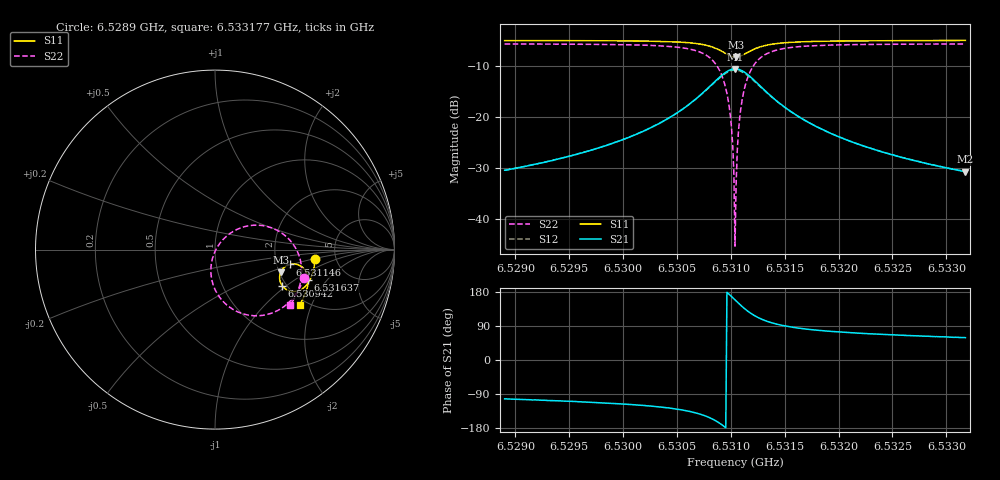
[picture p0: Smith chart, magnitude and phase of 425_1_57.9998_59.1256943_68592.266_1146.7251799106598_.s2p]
#  HZ  S  RI  R  50.00
! Rohde & Schwarz Vector Network Analyzer
! Rohde-Schwarz,ZNB20-2Port,1311601062101988,3.16
! Created: UTC 3/21/2024, 1:09:18 AM
! freq[Hz]  re:S11  im:S11  re:S21  im:S21  re:S12  im:S12  re:S22  im:S22
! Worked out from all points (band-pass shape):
!   401 points, 6.5289 GHz to 6.533177 GHz, reference 50 ohm
!   highest |S21| = -10.55 dB at 6.531039 GHz (marker M1); lowest = -30.7 dB at 6.533177 GHz (marker M2)
!   |S21| within 3 dB of the highest: 6.530826 GHz to 6.531254 GHz (428.2 kHz wide, 0.00656 % of centre)
!   lowest |S11| = -8.2 dB at 6.531049 GHz (marker M3), VSWR 2.26, Z = 102 - j30.3 ohm
!   |S11| at or under -10 dB: nowhere
!   |S22| runs from -45.2 to -5.7 dB; largest |S21 - S12| = 0.011
!   S11 on the Smith chart (normalised r, x): 6.5289 GHz: 3.46, -0.54; 6.530942 GHz: 1.90, -0.93; 6.531146 GHz: 2.36, -0.47; 6.531637 GHz: 2.71, -1.29; 6.533177 GHz: 1.82, -1.65
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6.5289002e9  0.5586 -0.0538  -0.0066 -0.0296  -0.0072 -0.0294  0.4963 -0.1566
6.5296166e9  0.5487 -0.1127  -0.0157 -0.0418  -0.0165 -0.0417  0.4667 -0.2224
6.530333e9  0.5209 -0.1827  -0.0479 -0.0719  -0.0499 -0.0708  0.3881 -0.3144
6.5307606e9  0.4522 -0.2322  -0.1522 -0.0978  -0.1545 -0.0918  0.1876 -0.3652
6.5308676e9  0.4089 -0.2276  -0.2196 -0.0727  -0.219 -0.0638  0.0722 -0.3139
6.5309424e9  0.3749 -0.2016  -0.2696 -0.0165  -0.2645 -0.00722  -0.00451 -0.2112
6.5309959e9  0.3608 -0.167  -0.2868 0.049  -0.278 0.0559  -0.0226 -0.0999
6.5310066e9  0.3599 -0.1591  -0.2865 0.0636  -0.2771 0.0697  -0.0199 -0.0755
6.5310172e9  0.3601 -0.1509  -0.2847 0.0784  -0.2751 0.0836  -0.0148 -0.0516
6.5310279e9  0.3611 -0.1428  -0.2816 0.0931  -0.2715 0.0975  -0.00717 -0.0278
6.5310386e9  0.3631 -0.1347  -0.2768 0.1074  -0.2668 0.111  0.0028 -0.00469
6.5310493e9  0.3659 -0.1269  -0.2709 0.1216  -0.2606 0.1241  0.0148 0.0173
6.53106e9  0.3693 -0.1195  -0.2634 0.1347  -0.2534 0.1363  0.0291 0.0377
6.5310707e9  0.3737 -0.1125  -0.2548 0.1469  -0.2451 0.1478  0.045 0.0566
6.5310921e9  0.3842 -0.1004  -0.2346 0.1682  -0.2256 0.1676  0.0814 0.0886
6.5311456e9  0.4161 -0.0826  -0.1763 0.2  -0.17 0.1972  0.1829 0.132
6.5312097e9  0.4526 -0.0816  -0.1122 0.2043  -0.1086 0.2012  0.2915 0.1284
6.5313059e9  0.4887 -0.1  -0.0492 0.1799  -0.0475 0.1781  0.3955 0.0739
6.5316374e9  0.519 -0.1672  0.0109 0.0995  0.0118 0.0991  0.4816 -0.093
6.531755e9  0.5187 -0.1841  0.0149 0.0837  0.0158 0.0834  0.4831 -0.128
6.5324714e9  0.4987 -0.2559  0.0173 0.0401  0.018 0.0398  0.4555 -0.2443
6.533177e9  0.4715 -0.308  0.0151 0.025  0.0155 0.0249  0.4206 -0.3059
